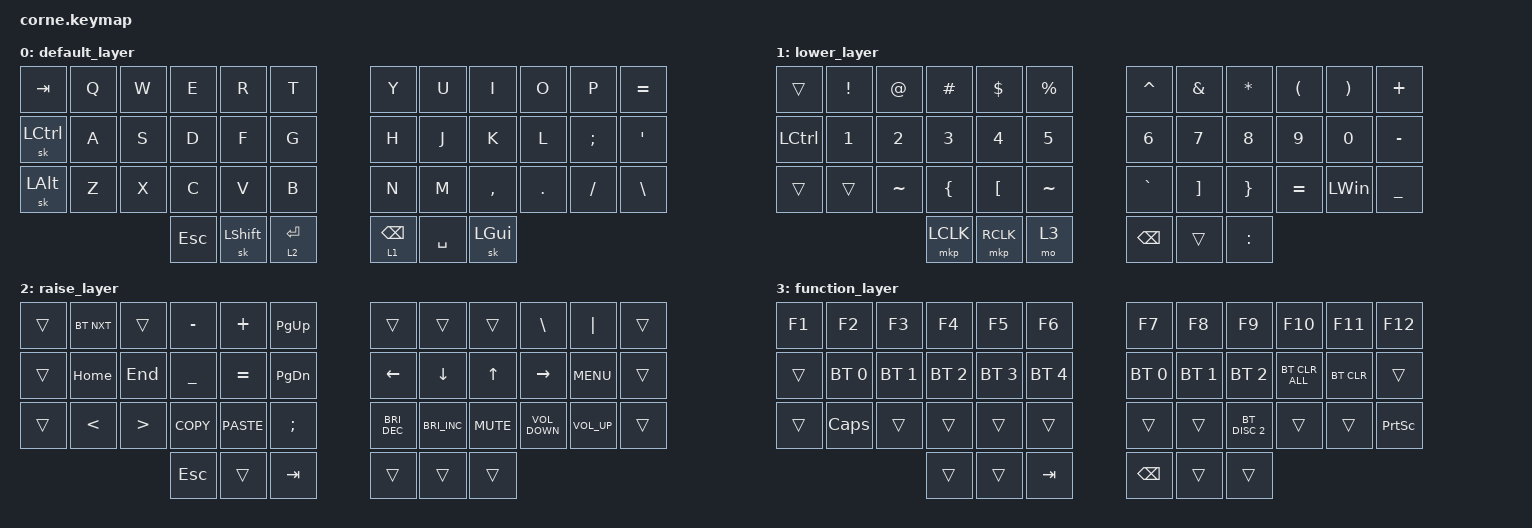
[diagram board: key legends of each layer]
/*
 * Copyright 2024 Michał Minarowski (@n3oney)
 * 
 * Originally created for QMK by Mark Stosberg (@markstos)
 * 
 * SPDX-License-Identifier: GPL-2.0-or-later
 */

#include <dt-bindings/zmk/mouse.h>
#include <behaviors.dtsi>
#include <dt-bindings/zmk/bt.h>
#include <dt-bindings/zmk/keys.h>
#include <dt-bindings/zmk/pointing.h>

/ {
    combos { compatible = "zmk,combos"; };

    keymap {
        compatible = "zmk,keymap";

        default_layer {
            bindings = <
&kp TAB       &kp Q  &kp W  &kp E    &kp R      &kp T          &kp Y            &kp U      &kp I         &kp O    &kp P          &kp EQUAL
&sk LCTRL     &kp A  &kp S  &kp D    &kp F      &kp G          &kp H            &kp J      &kp K         &kp L    &kp SEMICOLON  &kp SINGLE_QUOTE
&sk LEFT_ALT  &kp Z  &kp X  &kp C    &kp V      &kp B          &kp N            &kp M      &kp COMMA     &kp DOT  &kp FSLH       &kp BACKSLASH
                            &kp ESC  &sk LSHFT  &lt 2 ENTER    &lt 1 BACKSPACE  &kp SPACE  &sk LEFT_GUI
            >;
        };

        lower_layer {
            bindings = <
&trans            &kp EXCLAMATION  &kp AT_SIGN   &kp POUND       &kp DOLLAR        &kp PERCENT     &kp CARET      &kp AMPERSAND      &kp ASTERISK     &kp LEFT_PARENTHESIS  &kp RIGHT_PARENTHESIS  &kp PLUS
&kp LEFT_CONTROL  &kp NUMBER_1     &kp NUMBER_2  &kp NUMBER_3    &kp NUMBER_4      &kp NUMBER_5    &kp NUMBER_6   &kp NUMBER_7       &kp NUMBER_8     &kp NUMBER_9          &kp NUMBER_0           &kp MINUS
&trans            &trans           &kp TILDE     &kp LEFT_BRACE  &kp LEFT_BRACKET  &kp TILDE       &kp GRAVE      &kp RIGHT_BRACKET  &kp RIGHT_BRACE  &kp EQUAL             &kp LEFT_WIN           &kp UNDER
                                                 &mkp LCLK       &mkp RCLK         &mo 3           &kp BACKSPACE  &trans             &kp COLON
            >;
        };

        raise_layer {
            bindings = <
&trans  &bt BT_NXT     &trans            &kp MINUS   &kp PLUS     &kp PAGE_UP      &trans                &trans                &trans        &kp BACKSLASH      &kp PIPE         &trans
&trans  &kp HOME       &kp END           &kp UNDER   &kp EQUAL    &kp PAGE_DOWN    &kp LEFT              &kp DOWN              &kp UP_ARROW  &kp RIGHT          &kp K_MENU       &trans
&trans  &kp LESS_THAN  &kp GREATER_THAN  &kp K_COPY  &kp K_PASTE  &kp SEMICOLON    &kp C_BRIGHTNESS_DEC  &kp C_BRIGHTNESS_INC  &kp C_MUTE    &kp C_VOLUME_DOWN  &kp C_VOLUME_UP  &trans
                                         &kp ESCAPE  &trans       &kp TAB          &trans                &trans                &trans
            >;
        };

        function_layer {
            bindings = <
&kp F1  &kp F2        &kp F3        &kp F4        &kp F5        &kp F6          &kp F7         &kp F8        &kp F9         &kp F10         &kp F11     &kp F12
&trans  &bt BT_SEL 0  &bt BT_SEL 1  &bt BT_SEL 2  &bt BT_SEL 3  &bt BT_SEL 4    &bt BT_SEL 0   &bt BT_SEL 1  &bt BT_SEL 2   &bt BT_CLR_ALL  &bt BT_CLR  &trans
&trans  &kp CAPS      &trans        &trans        &trans        &trans          &trans         &trans        &bt BT_DISC 2  &trans          &trans      &kp PRINTSCREEN
                                    &trans        &trans        &kp TAB         &kp BACKSPACE  &trans        &trans
            >;
        };
    };
};
